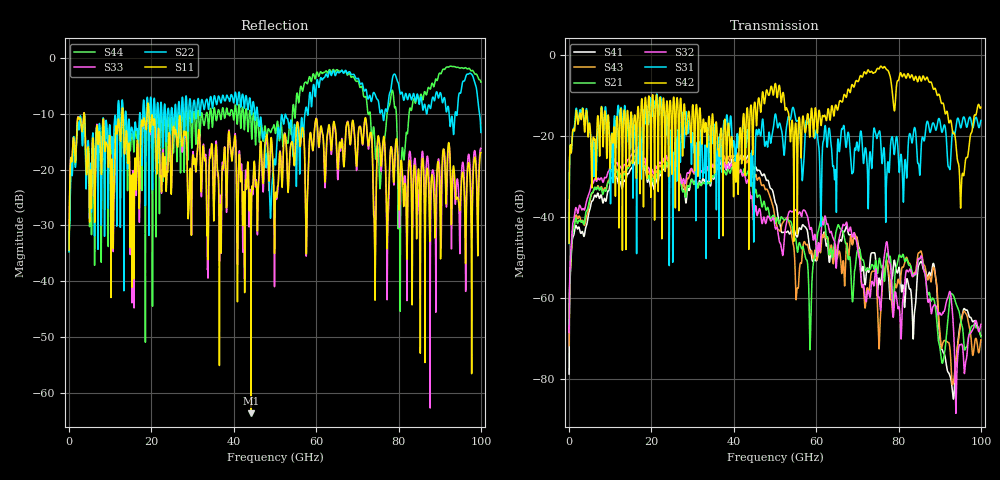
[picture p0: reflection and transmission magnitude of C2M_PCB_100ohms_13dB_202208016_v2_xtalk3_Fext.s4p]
! Info: Touchstone file created by Circ.  Input file=Intel_C2M_200G_3p0in_202208016_staggered.circ
# Hz S RI R 50
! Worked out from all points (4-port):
!   10000 points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, 10 MHz to 100 GHz, reference 50 ohm
!   strongest paths, dB at 10 MHz, 25.01 GHz, 50.01 GHz, 75.01 GHz, 100 GHz:
!     S42: -46.6, -27.4, -7.2, -3.4, -13.0
!     S31: -46.7, -22.2, -14.8, -19.7, -16.2
!     S32: -68.7, -26.0, -42.6, -59.5, -66.6
!     S21: -66.5, -27.8, -41.4, -53.5, -69.7
!     S43: -71.9, -26.4, -40.2, -65.0, -70.4
!     S41: -78.9, -27.9, -36.4, -57.4, -69.4
!   lowest |S11| = -63.7 dB at 44.17 GHz (marker M1), VSWR 1.00, Z = 50 - j0.0599 ohm
!   |S11| at or under -10 dB: 3.72 GHz to 12.81 GHz (9.088 GHz wide, 110 % of centre); 13.11 GHz to 18.94 GHz (5.828 GHz wide, 36.4 % of centre); 19.41 GHz to end of sweep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
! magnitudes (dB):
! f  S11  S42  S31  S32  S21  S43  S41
! 10 MHz  -34.4  -46.6  -46.7  -68.7  -66.5  -71.9  -78.9
! 10.62 GHz  -24.7  -21.7  -28.8  -26.1  -28.3  -28.1  -30.0
! 44.17 GHz  -63.7  -12.4  -32.5  -35.6  -31.8  -28.6  -26.4
! 58.56 GHz  -13.4  -18.3  -15.8  -43.2  -71.9  -49.1  -48.2
! 61.57 GHz  -13.5  -15.0  -22.4  -41.5  -40.9  -44.6  -44.8
! 80.26 GHz  -25.0  -5.0  -28.5  -63.0  -49.5  -56.7  -53.1
! 100 GHz  -16.9  -13.0  -16.2  -66.6  -69.7  -70.4  -69.4
